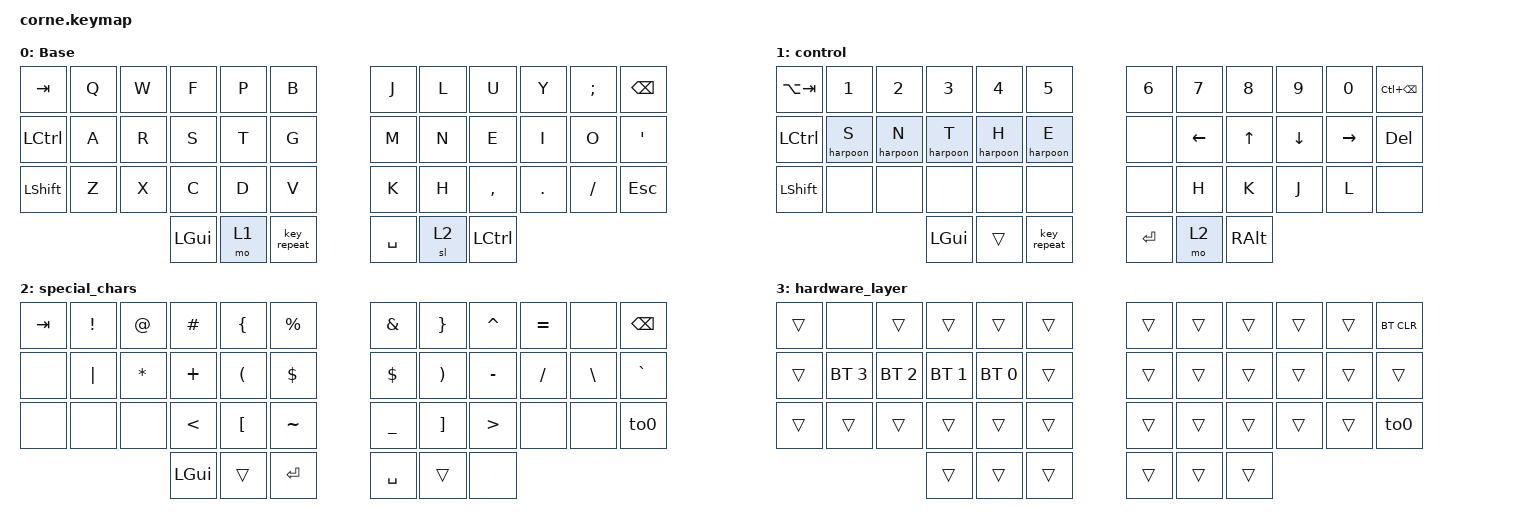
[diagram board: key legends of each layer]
/*
 * Copyright (c) 2020 The ZMK Contributors
 *
 * SPDX-License-Identifier: MIT
 */

#include <behaviors.dtsi>
#include <dt-bindings/zmk/bt.h>
#include <dt-bindings/zmk/keys.h>

&mt { tapping-term-ms = <300>; };

/ {
    combos {
        compatible = "zmk,combos";

        hardware_layer {
            bindings = <&to 3>;
            key-positions = <24 35>;
        };
    };

    macros {
        harpoon: harpoon {
            compatible = "zmk,behavior-macro-one-param";
            #binding-cells = <1>;
            bindings = <&kp ESCAPE &sk LEFT_CONTROL &macro_param_1to1 &kp MACRO_PLACEHOLDER>;
            label = "harpoon";
        };

        single_shot: single_shot {
            compatible = "zmk,behavior-macro-one-param";
            #binding-cells = <1>;
            bindings = <&macro_param_1to1 &kp MACRO_PLACEHOLDER>;
            label = "SINGLE_SHOT";
        };

        to0: to0 {
            compatible = "zmk,behavior-macro";
            #binding-cells = <0>;
            bindings = <&to 0>;
            label = "TO0";
        };
    };

    keymap {
        compatible = "zmk,keymap";

        default_layer {
            // -----------------------------------------------------------------------------------------
            // |  TAB |  Q  |  W  |  E  |  R  |  T  |   |  Y  |  U   |  I  |  O  |  P  | BKSP |
            // | CTRL |  A  |  S  |  D  |  F  |  G  |   |  H  |  J   |  K  |  L  |  ;  |  '   |
            // | SHFT |  Z  |  X  |  C  |  V  |  B  |   |  N  |  M   |  ,  |  .  |  /  | ESC  |
            //                    | GUI | LWR | SPC |   | ENT | RSE  | ALT |

            display-name = "Base";
            bindings = <
&kp TAB    &kp Q  &kp W  &kp F     &kp P  &kp B          &kp J      &kp L  &kp U      &kp Y    &kp SEMICOLON  &kp BACKSPACE
&kp LCTRL  &kp A  &kp R  &kp S     &kp T  &kp G          &kp M      &kp N  &kp E      &kp I    &kp O          &kp SQT
&kp LSHFT  &kp Z  &kp X  &kp C     &kp D  &kp V          &kp K      &kp H  &kp COMMA  &kp DOT  &kp FSLH       &kp ESCAPE
                         &kp LGUI  &mo 1  &key_repeat    &kp SPACE  &sl 2  &kp LCTRL
            >;
        };

        control_layer {
            // -----------------------------------------------------------------------------------------
            // |  TAB |  1  |  2  |  3  |  4  |  5  |   |  6  |  7  |  8  |  9  |  0  | BKSP |
            // | BTCLR| BT1 | BT2 | BT3 | BT4 | BT5 |   | LFT | DWN |  UP | RGT |     |      |
            // | SHFT |     |     |     |     |     |   |     |     |     |     |     |      |
            //                    | GUI |     | SPC |   | ENT |     | ALT |

            display-name = "control";
            bindings = <
&kp LA(TAB)       &kp N1      &kp N2      &kp N3      &kp N4      &kp N5         &kp N6     &kp N7    &kp N8        &kp N9    &kp N0           &kp LC(BSPC)
&kp LEFT_CONTROL  &harpoon S  &harpoon N  &harpoon T  &harpoon H  &harpoon E     &none      &kp LEFT  &kp UP_ARROW  &kp DOWN  &kp RIGHT_ARROW  &kp DELETE
&kp LSHFT         &none       &none       &none       &none       &none          &none      &kp H     &kp K         &kp J     &kp L            &none
                                          &kp LGUI    &trans      &key_repeat    &kp ENTER  &mo 2     &kp RALT
            >;
        };

        special_chars {
            bindings = <
&kp TAB  &kp EXCLAMATION  &kp AT_SIGN   &kp HASH       &kp LEFT_BRACE        &kp PERCENT    &kp AMPERSAND  &kp RIGHT_BRACE        &kp CARET         &kp EQUAL  &none          &kp BACKSPACE
&none    &kp PIPE         &kp ASTERISK  &kp PLUS       &kp LEFT_PARENTHESIS  &kp DOLLAR     &kp DOLLAR     &kp RIGHT_PARENTHESIS  &kp MINUS         &kp SLASH  &kp BACKSLASH  &kp GRAVE
&none    &none            &none         &kp LESS_THAN  &kp LEFT_BRACKET      &kp TILDE      &kp UNDER      &kp RIGHT_BRACKET      &kp GREATER_THAN  &none      &none          &to0
                                        &kp LEFT_GUI   &trans                &kp RETURN     &kp SPACE      &trans                 &none
            >;
        };

        hardware_layer {
            bindings = <
&trans  &none         &trans        &trans        &trans        &trans    &trans  &trans  &trans  &trans  &trans  &bt BT_CLR
&trans  &bt BT_SEL 3  &bt BT_SEL 2  &bt BT_SEL 1  &bt BT_SEL 0  &trans    &trans  &trans  &trans  &trans  &trans  &trans
&trans  &trans        &trans        &trans        &trans        &trans    &trans  &trans  &trans  &trans  &trans  &to0
                                    &trans        &trans        &trans    &trans  &trans  &trans
            >;
        };
    };
};
